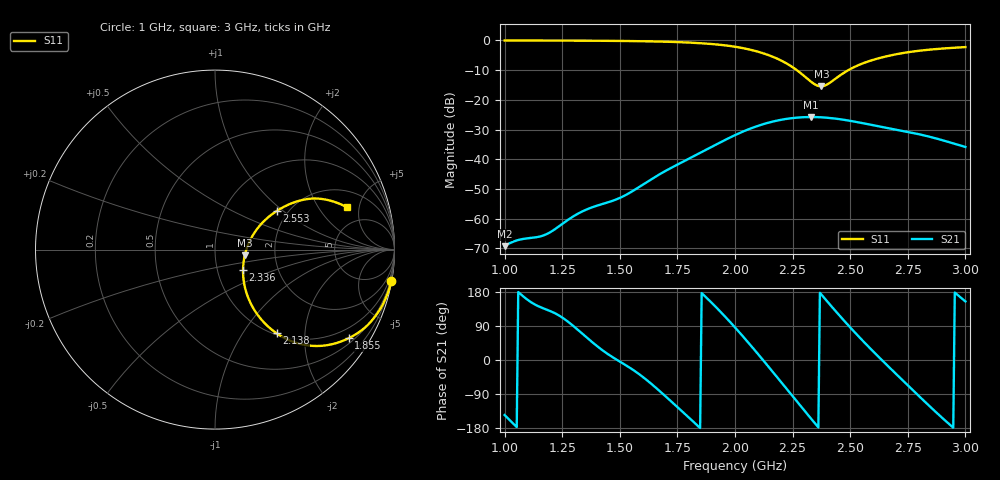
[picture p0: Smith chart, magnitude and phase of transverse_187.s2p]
! TOUCHSTONE file generated by CST MICROWAVE STUDIO
! Date and time: Tue Mar 11 13:57:27 2025
! Project name: transverse.cst
! Parameters = {Fracture=1; B=12.5; D=160; F=5; Feed=2.85625; L=100; M=20; R=0.384908; S=2; Theta=180; length=57.125; wave=114.25}
! Header version: 2024
! Port assignment regex: !\s*Touchstone port\s*([0-9]+)\s*=\s*(CST MWS port|CST DES external port|CST DES block port)\s*(.+)\s* \(\"(.*)\"\)(\s*mode\s*([0-9]+))?.*
! Touchstone port assignment:
! Touchstone port 1 = CST MWS port 1 ("")
! Touchstone port 2 = CST MWS port 2 ("")
# GHz S MA R 50
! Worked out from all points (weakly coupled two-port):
!   305 points, 1 GHz to 3 GHz, reference 50 ohm
!   highest |S21| = -25.80 dB at 2.329 GHz (marker M1); lowest = -69.3 dB at 1 GHz (marker M2)
!   lowest |S11| = -15.5 dB at 2.375 GHz (marker M3), VSWR 1.41, Z = 69.7 - j4.6 ohm
!   |S11| at or under -10 dB: 2.268 GHz to 2.492 GHz (224.2 MHz wide, 9.42 % of centre)
!   S12 and S22 are empty: the file has one direction only
!   S11 on the Smith chart (normalised r, x): 1 GHz: 0, -11; 1.855 GHz: 0.65, -3.20; 2.138 GHz: 1.03, -1.44; 2.336 GHz: 1.33, -0.32; 2.553 GHz: 1.76, +0.91; 3 GHz: 3.22, +3.75
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1  0.9978 -10.0  0.0003436 -145.2  0 0.0  0 0.0
1.05921  0.9967 -10.8  0.0004362 179.4  0 0.0  0 0.0
1.14474  0.9954 -12.1  0.0004914 142.4  0 0.0  0 0.0
1.17763  0.9949 -12.6  0.0005377 134.1  0 0.0  0 0.0
1.33553  0.9896 -15.5  0.001312 70.4  0 0.0  0 0.0
1.50658  0.9793 -19.5  0.002289 -6.6  0 0.0  0 0.0
1.67105  0.957 -24.8  0.005534 -80.9  0 0.0  0 0.0
1.85526  0.894 -33.5  0.01312 176.6  0 0.0  0 0.0
2  0.7828 -43.3  0.02542 86.0  0 0.0  0 0.0
2.07237  0.6883 -49.0  0.03341 35.5  0 0.0  0 0.0
2.13816  0.5786 -53.6  0.04051 -12.3  0 0.0  0 0.0
2.23684  0.382 -56.8  0.04857 -85.7  0 0.0  0 0.0
2.32895  0.2031 -39.7  0.05129 -153.9  0 0.0  0 0.0
2.33553  0.1942 -36.5  0.05128 -158.7  0 0.0  0 0.0
2.35526  0.1748 -24.8  0.05111 -173.1  0 0.0  0 0.0
2.375  0.1688 -10.9  0.05071 172.6  0 0.0  0 0.0
2.40132  0.1826 6.2  0.04985 153.8  0 0.0  0 0.0
2.46053  0.2648 26.5  0.04684 112.5  0 0.0  0 0.0
2.55263  0.4075 32.0  0.04057 51.9  0 0.0  0 0.0
2.67105  0.5545 29.8  0.03303 -20.3  0 0.0  0 0.0
2.82237  0.6855 23.8  0.02508 -109.1  0 0.0  0 0.0
3  0.7717 17.8  0.01608 154.6  0 0.0  0 0.0
